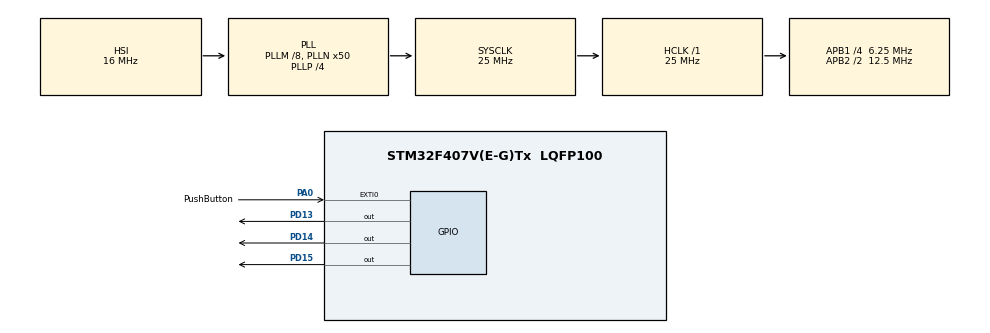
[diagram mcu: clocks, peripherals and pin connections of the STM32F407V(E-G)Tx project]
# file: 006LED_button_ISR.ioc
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Mcu.Family=STM32F4
Mcu.Name=STM32F407V(E-G)Tx
Mcu.Package=LQFP100
NVIC.EXTI0_IRQn=true\:6\:0\:true\:false\:true\:true\:true\:true
NVIC.PriorityGroup=NVIC_PRIORITYGROUP_4
NVIC.TIM6_DAC_IRQn=true\:0\:0\:false\:false\:true\:false\:true\:true
NVIC.TimeBase=TIM6_DAC_IRQn
NVIC.TimeBaseIP=TIM6
PA0-WKUP.GPIO_Label=PushButton
PA0-WKUP.GPIO_ModeDefaultEXTI=GPIO_MODE_IT_FALLING
PA0-WKUP.Signal=GPXTI0
PC14-OSC32_IN.Mode=LSE-External-Oscillator
PC14-OSC32_IN.Signal=RCC_OSC32_IN
PC15-OSC32_OUT.Mode=LSE-External-Oscillator
PC15-OSC32_OUT.Signal=RCC_OSC32_OUT
PD13.Signal=GPIO_Output
PD14.Signal=GPIO_Output
PD15.Signal=GPIO_Output
PH0-OSC_IN.Mode=HSE-External-Oscillator
PH0-OSC_IN.Signal=RCC_OSC_IN
PH1-OSC_OUT.Mode=HSE-External-Oscillator
PH1-OSC_OUT.Signal=RCC_OSC_OUT
ProjectManager.HeapSize=0x200
ProjectManager.StackSize=0x400
ProjectManager.TargetToolchain=STM32CubeIDE
RCC.48MHZClocksFreq_Value=14285714.285714285
RCC.AHBFreq_Value=25000000
RCC.APB1CLKDivider=RCC_HCLK_DIV4
RCC.APB1Freq_Value=6250000
RCC.APB1TimFreq_Value=12500000
RCC.APB2CLKDivider=RCC_HCLK_DIV2
RCC.APB2Freq_Value=12500000
RCC.APB2TimFreq_Value=25000000
RCC.CortexFreq_Value=25000000
RCC.HCLKFreq_Value=25000000
RCC.HSE_VALUE=8000000
RCC.HSI_VALUE=16000000
RCC.PLLM=8
RCC.PLLN=50
RCC.PLLP=RCC_PLLP_DIV4
RCC.PLLQ=7
RCC.SYSCLKFreq_VALUE=25000000
RCC.SYSCLKSource=RCC_SYSCLKSOURCE_PLLCLK
RCC.VCOOutputFreq_Value=100000000
VP_SYS_VS_tim6.Mode=TIM6
board=STM32F407G-DISC1

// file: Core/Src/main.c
/* USER CODE BEGIN Header */
/**
  ******************************************************************************
  * @file           : main.c
  * @brief          : Main program body
  ******************************************************************************
  * @attention
  *
  * Copyright (c) 2022 STMicroelectronics.
  * All rights reserved.
  *
  * This software is licensed under terms that can be found in the LICENSE file
  * in the root directory of this software component.
  * If no LICENSE file comes with this software, it is provided AS-IS.
  *
  ******************************************************************************
  */
/* USER CODE END Header */
#include "main.h"

/* USER CODE BEGIN Includes */
#include "stdio.h"
#include "FreeRTOS.h"
#include "task.h"
#include "SEGGER_SYSVIEW.h"

/* USER CODE END Includes */

/* USER CODE BEGIN PV */
#define DWT_CTRL	(*(volatile uint32_t*)0xE0001000)
/* USER CODE END PV */

void SystemClock_Config(void);
static void MX_GPIO_Init(void);
void button_interrupt_handler(void);

/* USER CODE BEGIN 0 */
static void led_blue_handler(void* parameters);
static void led_red_handler(void* parameters);
static void led_orange_handler(void* parameters);

extern void SEGGER_UART_init(uint32_t);

TaskHandle_t ledblue_task_handle;
TaskHandle_t ledred_task_handle;
TaskHandle_t ledorange_task_handle;
TaskHandle_t btn_task_handle;

TaskHandle_t volatile next_task_handle;
/* USER CODE END 0 */

int main(void)
{
  /* USER CODE BEGIN 1 */
	BaseType_t status;
	TaskHandle_t ledblue_task_handle;
	TaskHandle_t ledred_task_handle;
	TaskHandle_t ledorange_task_handle;
  /* USER CODE END 1 */

  /* MCU Configuration--------------------------------------------------------*/

  /* Reset of all peripherals, Initializes the Flash interface and the Systick. */
  HAL_Init();

  /* Configure the system clock */
  SystemClock_Config();

  /* Initialize all configured peripherals */
  MX_GPIO_Init();
  /* USER CODE BEGIN 2 */
  SEGGER_UART_init(250000);

    DWT_CTRL |= (1 << 0);

    SEGGER_SYSVIEW_Conf();

    status = xTaskCreate(led_blue_handler, "LED_blue_task", 200, NULL, 3, &ledblue_task_handle);

    configASSERT(status == pdPASS);

    next_task_handle = ledblue_task_handle;

    status = xTaskCreate(led_red_handler, "LED_red_task", 200, NULL, 2, &ledred_task_handle);

    configASSERT(status == pdPASS);

    status = xTaskCreate(led_orange_handler, "LED_orange_task", 200, NULL,1, &ledorange_task_handle);

    configASSERT(status == pdPASS);

    //start the freeRTOS scheduler

    vTaskStartScheduler();
  /* USER CODE END 2 */

  /* Infinite loop */
  while (1)
  {

  }
}

void SystemClock_Config(void)
{
  RCC_OscInitTypeDef RCC_OscInitStruct = {0};
  RCC_ClkInitTypeDef RCC_ClkInitStruct = {0};

  /** Configure the main internal regulator output voltage
  */
  __HAL_RCC_PWR_CLK_ENABLE();
  __HAL_PWR_VOLTAGESCALING_CONFIG(PWR_REGULATOR_VOLTAGE_SCALE1);

  /** Initializes the RCC Oscillators according to the specified parameters
  * in the RCC_OscInitTypeDef structure.
  */
  RCC_OscInitStruct.OscillatorType = RCC_OSCILLATORTYPE_HSI;
  RCC_OscInitStruct.HSIState = RCC_HSI_ON;
  RCC_OscInitStruct.HSICalibrationValue = RCC_HSICALIBRATION_DEFAULT;
  RCC_OscInitStruct.PLL.PLLState = RCC_PLL_ON;
  RCC_OscInitStruct.PLL.PLLSource = RCC_PLLSOURCE_HSI;
  RCC_OscInitStruct.PLL.PLLM = 8;
  RCC_OscInitStruct.PLL.PLLN = 50;
  RCC_OscInitStruct.PLL.PLLP = RCC_PLLP_DIV4;
  RCC_OscInitStruct.PLL.PLLQ = 7;
  if (HAL_RCC_OscConfig(&RCC_OscInitStruct) != HAL_OK)
  {
    Error_Handler();
  }

  /** Initializes the CPU, AHB and APB buses clocks
  */
  RCC_ClkInitStruct.ClockType = RCC_CLOCKTYPE_HCLK|RCC_CLOCKTYPE_SYSCLK
                              |RCC_CLOCKTYPE_PCLK1|RCC_CLOCKTYPE_PCLK2;
  RCC_ClkInitStruct.SYSCLKSource = RCC_SYSCLKSOURCE_PLLCLK;
  RCC_ClkInitStruct.AHBCLKDivider = RCC_SYSCLK_DIV1;
  RCC_ClkInitStruct.APB1CLKDivider = RCC_HCLK_DIV4;
  RCC_ClkInitStruct.APB2CLKDivider = RCC_HCLK_DIV2;

  if (HAL_RCC_ClockConfig(&RCC_ClkInitStruct, FLASH_LATENCY_0) != HAL_OK)
  {
    Error_Handler();
  }
}

static void MX_GPIO_Init(void)
{
  GPIO_InitTypeDef GPIO_InitStruct = {0};

  /* GPIO Ports Clock Enable */
  __HAL_RCC_GPIOC_CLK_ENABLE();
  __HAL_RCC_GPIOH_CLK_ENABLE();
  __HAL_RCC_GPIOA_CLK_ENABLE();
  __HAL_RCC_GPIOD_CLK_ENABLE();

  /*Configure GPIO pin Output Level */
  HAL_GPIO_WritePin(GPIOD, GPIO_PIN_13|GPIO_PIN_14|GPIO_PIN_15, GPIO_PIN_RESET);

  /*Configure GPIO pin : PushButton_Pin */
  GPIO_InitStruct.Pin = PushButton_Pin;
  GPIO_InitStruct.Mode = GPIO_MODE_IT_FALLING;
  GPIO_InitStruct.Pull = GPIO_NOPULL;
  HAL_GPIO_Init(PushButton_GPIO_Port, &GPIO_InitStruct);

  /*Configure GPIO pins : PD13 PD14 PD15 */
  GPIO_InitStruct.Pin = GPIO_PIN_13|GPIO_PIN_14|GPIO_PIN_15;
  GPIO_InitStruct.Mode = GPIO_MODE_OUTPUT_PP;
  GPIO_InitStruct.Pull = GPIO_NOPULL;
  GPIO_InitStruct.Speed = GPIO_SPEED_FREQ_LOW;
  HAL_GPIO_Init(GPIOD, &GPIO_InitStruct);

  /* EXTI interrupt init*/
  HAL_NVIC_SetPriority(EXTI0_IRQn, 6, 0);
  HAL_NVIC_EnableIRQ(EXTI0_IRQn);

}

/* USER CODE BEGIN 4 */
void button_interrupt_handler(void)
{
	BaseType_t pxHigherPriorityTaskWoken;

	pxHigherPriorityTaskWoken =pdFALSE;

	traceISR_ENTER();
	xTaskNotifyFromISR(next_task_handle, 0, eNoAction, &pxHigherPriorityTaskWoken);

	portYIELD_FROM_ISR(pxHigherPriorityTaskWoken);

	traceISR_EXIT();
}

static void led_blue_handler(void* parameters)
{
	BaseType_t status;

	while(1)
	{
		//blue PD15
		SEGGER_SYSVIEW_PrintfTarget("Toggling blue LED");
		HAL_GPIO_TogglePin(GPIOD, GPIO_PIN_15);
		status = xTaskNotifyWait(0, 0, NULL, pdMS_TO_TICKS(1000));
		if(status == pdTRUE){
			portENTER_CRITICAL(); //disables hardware interrupts
			next_task_handle = ledred_task_handle;
			HAL_GPIO_WritePin(GPIOD, GPIO_PIN_15, GPIO_PIN_SET);
			SEGGER_SYSVIEW_PrintfTarget("Delete blue Task");
			portEXIT_CRITICAL(); // enable interrupts
			vTaskDelete(NULL);
		}
	}
}

static void led_red_handler(void* parameters)
{
	BaseType_t status;

	while(1)
	{
		//red PD14
		SEGGER_SYSVIEW_PrintfTarget("Toggling red LED");
		HAL_GPIO_TogglePin(GPIOD, GPIO_PIN_14);
		status = xTaskNotifyWait(0, 0, NULL, pdMS_TO_TICKS(800));
		if(status == pdTRUE){
			portENTER_CRITICAL(); //disables hardware interrupts
			next_task_handle = ledorange_task_handle;
			HAL_GPIO_WritePin(GPIOD, GPIO_PIN_14, GPIO_PIN_SET);
			SEGGER_SYSVIEW_PrintfTarget("Delete red Task");
			portEXIT_CRITICAL(); // enable interrupts
			vTaskDelete(NULL);
		}
	}
}

static void led_orange_handler(void* parameters)
{
	BaseType_t status;

	while(1)
	{
		//orange PD13
		SEGGER_SYSVIEW_PrintfTarget("Toggling orange LED");
		HAL_GPIO_TogglePin(GPIOD, GPIO_PIN_13);
		status = xTaskNotifyWait(0, 0, NULL, pdMS_TO_TICKS(400));
		if(status == pdTRUE){
			portENTER_CRITICAL(); //disables hardware interrupts
			next_task_handle = NULL;
			HAL_GPIO_WritePin(GPIOD, GPIO_PIN_13, GPIO_PIN_SET);
			SEGGER_SYSVIEW_PrintfTarget("Delete orange Task");
			portEXIT_CRITICAL(); // enable interrupts
			vTaskDelete(NULL);

		}
	}
}
/* USER CODE END 4 */

void HAL_TIM_PeriodElapsedCallback(TIM_HandleTypeDef *htim)
{
  if (htim->Instance == TIM6) {
    HAL_IncTick();
  }
}

void Error_Handler(void)
{
  __disable_irq();
  while (1)
  {
  }
}
